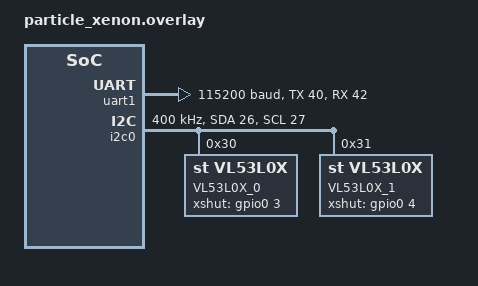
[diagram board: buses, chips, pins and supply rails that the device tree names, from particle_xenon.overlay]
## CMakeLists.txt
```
# SPDX-License-Identifier: Apache-2.0

cmake_minimum_required(VERSION 3.13.1)
include($ENV{ZEPHYR_BASE}/cmake/app/boilerplate.cmake NO_POLICY_SCOPE)
project(test)



FILE(GLOB app_sources src/*.c)
target_sources(app PRIVATE ${app_sources})
```

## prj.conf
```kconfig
CONFIG_GPIO=y
CONFIG_UART_1_NRF_UARTE=y
CONFIG_UART_INTERRUPT_DRIVEN=y
CONFIG_FLOAT=y
CONFIG_NEWLIB_LIBC=y

CONFIG_STDOUT_CONSOLE=y
CONFIG_I2C=y
#CONFIG_I2C_1=y

#CONFIG_SENSOR=y
#CONFIG_VL53L0X=y
#CONFIG_VL53L0X_PROXIMITY_THRESHOLD=100


CONFIG_BT=y
CONFIG_BT_DEBUG_LOG=y
CONFIG_BT_SMP=y
CONFIG_BT_PERIPHERAL=y
CONFIG_BT_GATT_DIS=y
CONFIG_BT_GATT_DIS_PNP=n
CONFIG_BT_DEVICE_NAME="Spinning Drone"
CONFIG_BT_DEVICE_APPEARANCE=833


CONFIG_BT_CTLR_TX_PWR_PLUS_8=y


CONFIG_RING_BUFFER=y

CONFIG_DEBUG=y
CONFIG_LOG=y
CONFIG_SENSOR_LOG_LEVEL_DBG=y
```

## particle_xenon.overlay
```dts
/*
 * Copyright (c) 2018 Peter Bigot Consulting, LLC
 *
 * SPDX-License-Identifier: Apache-2.0
 */

/* Add UART2 support on particle_xenon via nRF52840 UARTE1 */
&uart1 {
	compatible = "nordic,nrf-uarte";
	current-speed = <115200>;
	status = "okay";
	tx-pin = <40>;
	rx-pin = <42>;
	rts-pin = <35>;
	cts-pin = <43>;
};

&i2c0 { /* feather I2C */
	status = "okay";
	clock-frequency = <I2C_BITRATE_FAST>;
	sda-pin = <26>;
	scl-pin = <27>;

    vl53l0x@30 {
		compatible = "st,vl53l0x";
		reg = <0x30>;
		label = "VL53L0X_0";
		xshut-gpios = <&gpio0 3 GPIO_ACTIVE_HIGH>;
	};
	vl53l0x@31 {
		compatible = "st,vl53l0x";
		reg = <0x31>;
		label = "VL53L0X_1";
		xshut-gpios = <&gpio0 4 GPIO_ACTIVE_HIGH>;
	};
};
```

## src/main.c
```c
#include <device.h>
#include <drivers/gpio.h> 

#include <logging/log.h>
#include <errno.h>
#include <stdio.h>
#include <stddef.h>
#include <string.h>
#include <sys/printk.h>
#include <sys/byteorder.h>
#include <zephyr.h>
#include <zephyr/types.h>
#include <sys/ring_buffer.h>
#include <math.h>

#include "bluetoothle.h"
#include "filter.h"
#include "globals.h"
#include "uart.h"
#include "msp.h"
#include "controller.h"
#include "sensor.h"


#define LED_PORT DT_ALIAS_LED0_GPIOS_CONTROLLER
#define LED	DT_ALIAS_LED0_GPIOS_PIN
#define SLEEP_TIME 	10
#define MSP_RC_TO_FC 20
#define MSP_ATTITUDE_FETCH_TIME 10


LOG_MODULE_REGISTER( mainthread, CONFIG_LOG_DEFAULT_LEVEL);
// global definitions
u8_t watchdogPC = 0;

ringbuffer_t PC_rx;
ringbuffer_t PC_tx;
ringbuffer_t FC_rx;
ringbuffer_t FC_tx;

void init_ringbuffer(ringbuffer_t *ringbuffer)
{
    ring_buf_init(&ringbuffer->rb, sizeof(ringbuffer->buffer), ringbuffer->buffer);
}

#define MSP_RC_TO_FC 20
#define MSP_ATTITUDE_FETCH_TIME 10
#define SENSOR_TIME 33
void main(void)
{
    LOG_INF("start main thread");
    // Set LED pin as output
    struct device *setup_status_led_dev;
    setup_status_led_dev = device_get_binding(LED_PORT);
    gpio_pin_configure(setup_status_led_dev, LED, GPIO_OUTPUT);
    gpio_pin_set(setup_status_led_dev, LED, 0);

//    init_sensor(&tof_front, device_get_binding(DT_INST_1_ST_VL53L0X_LABEL), 0);
//    init_sensor(&tof_down, device_get_binding(DT_INST_0_ST_VL53L0X_LABEL), 20);
//    if (tof_front.dev == NULL) {
//        printk("Could not get VL53L0X frontFace\n");
//        return;
//    }
//    if (tof_down.dev == NULL) {
//        printk("Could not get VL53L0X downFace\n");
//        return;
//    }

    // setup ringbuffers for communication with pc and fc
    init_ringbuffer(&PC_rx);
    init_ringbuffer(&PC_tx);
    init_ringbuffer(&FC_rx);
    init_ringbuffer(&FC_tx);

    s64_t attitudeFetchTime = 0;
    s64_t rcSendToFCTime = 0;
    s64_t sensorTime = 0;
    s64_t currentTime = 0;
    // all setups done
    gpio_pin_set(setup_status_led_dev, LED, 1);

    LOG_INF("start main while loop");

//    biquadFilter_t tof_filter_front;
//    biquadFilterInit(&tof_filter_front, 33, (100000/SENSOR_TIME) , BIQUAD_Q, FILTER_LPF);
//    expFilterInit(&tof_front.filter.expFilter, 0.3f);
//    tof_front.filter.biquadFilter = &tof_filter_front;

//    biquadFilter_t tof_filter_ground;
//    biquadFilterInit(&tof_filter_ground, 33, (100000/SENSOR_TIME) , BIQUAD_Q, FILTER_LPF);
//    expFilterInit(&tof_down.filter.expFilter, 0.3f);
//    tof_down.filter.biquadFilter = &tof_filter_ground;

    s64_t stopwatch = 0;
    stopwatch = k_uptime_get();
    int time_att = 0;
    while (1) {
        bluetoothUartNotify();
        currentTime = k_uptime_get();

        processMSP(); // Process the MSP Buffer and get new information form PC and FC

//        if (currentTime >= sensorTime) {
//            sensorTime = currentTime + SENSOR_TIME;
//            fetch_distance_sensor(&tof_front);
//            fetch_distance_sensor(&tof_down);
//            //printk("SENSOR %i,%i,%i\n", tof_front.range,tof_down.range,0);
//        }

        if (currentTime >= attitudeFetchTime) {
            int stopwatch =  MSP_ATTITUDE_FETCH_TIME + currentTime - attitudeFetchTime;
            attitudeFetchTime = currentTime + MSP_ATTITUDE_FETCH_TIME;
            int request_count = requestAttitude();
            if(request_count > 1){ // FC did not respond to request
                time_att = time_att + stopwatch;
            } else {
                time_att = stopwatch;
            }
        }

        // Process Controller
        tick(time_att);

        if (currentTime >= rcSendToFCTime) {
            rcSendToFCTime = currentTime + MSP_RC_TO_FC;
            //printk("delta %d\n",delta);
            // TODO make a timeout for the data so if connection is lost the quadcopter is landing
            if (watchdogPC < 50) { //1sec Timeout
                watchdogPC++;
                //printk("rc to fc %i,%i,%i,%i,%i,%i\n", rcControl.rcdata.roll,rcControl.rcdata.pitch,rcControl.rcdata.yaw,rcControl.rcdata.throttle,rcControl.rcdata.mode,rcControl.rcdata.arm);
                sendRCtoFC();

            } else if (watchdogPC == 50) {
                resetController();
                printk("Watchdog was not reseted\n");
                watchdogPC++;
            }
        }

    }
}
```

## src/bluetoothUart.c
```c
#include <bluetooth/bluetooth.h>
#include <bluetooth/hci.h>
#include <bluetooth/conn.h>
#include <bluetooth/uuid.h>
#include <bluetooth/gatt.h>
#include <init.h>
#include <uart.h>
#include <sys/ring_buffer.h>
#include <zephyr.h>

#include "bluetoothUart.h"

static struct bt_conn *default_conn;
static u32_t notify_time;
#define NOTIFY_TIMOUT_MS 3
#define DEBUG_BLE_TIMING 1

#define LOG_LEVEL CONFIG_BT_GATT_HRS_LOG_LEVEL
#include <logging/log.h>
LOG_MODULE_REGISTER( drone, LOG_LEVEL_DBG);

#define RING_BUF_SIZE (64 * 4)

u8_t rx_Buffer[RING_BUF_SIZE];
u8_t tx_Buffer[RING_BUF_SIZE];

static struct bridge_data {
    struct device *uart_dev;
    struct ring_buf rx_ringbuf;
    struct ring_buf tx_ringbuf;
} bridgeBuffer;

static ssize_t write_signed(struct bt_conn *conn, const struct bt_gatt_attr *attr, const void *buf, u16_t len, u16_t offset, u8_t flags)
{
    size_t wrote;
    struct bridge_data *bridge = attr->user_data;
    struct ring_buf *ringbuf = &bridge->rx_ringbuf;
    struct device *dev = bridge->uart_dev;

#ifdef DEBUG_BLE_TIMING
    static u32_t cycles_spent = 0;
    const char *bufl = buf;
    cycles_spent = k_uptime_get_32() - cycles_spent;
    printk("Time since last BLE Frame received %u %d\n", cycles_spent,len);
    for(char e=0; e< len;e++){
        printk("0x%X ", *bufl);
        bufl++;
    }
    printk("\n");
    cycles_spent = k_uptime_get_32();
#endif

    wrote = ring_buf_put(ringbuf, buf, len);
    if (wrote < len) {
        LOG_ERR("Drop %u bytes rx", len - wrote);
    }

    if (wrote > 0) {
        uart_irq_tx_enable(dev);
    }
    return len;
}

static void sdgmc_ccc_cfg_changed(const struct bt_gatt_attr *attr, u16_t value)
{
    ARG_UNUSED(attr);
    bool notif_enabled = (value == BT_GATT_CCC_NOTIFY);
    LOG_INF("Drone notifications %s", notif_enabled ? "enabled" : "disabled");
}

BT_GATT_SERVICE_DEFINE(drone_svc,
        BT_GATT_PRIMARY_SERVICE(BT_UUID_UART),
        BT_GATT_CHARACTERISTIC(BT_UUID_UART_TX, BT_GATT_CHRC_NOTIFY, BT_GATT_PERM_NONE, NULL, NULL, NULL),
        BT_GATT_CCC(sdgmc_ccc_cfg_changed),
        BT_GATT_CHARACTERISTIC(BT_UUID_UART_RX, BT_GATT_CHRC_WRITE , BT_GATT_PERM_WRITE, NULL, write_signed, &bridgeBuffer),
);

static const struct bt_data ad[] = { BT_DATA_BYTES(BT_DATA_FLAGS, (BT_LE_AD_GENERAL | BT_LE_AD_NO_BREDR)), BT_DATA_BYTES(BT_DATA_UUID16_ALL, 0x0d, 0x18, 0x0f, 0x18, 0x05, 0x18), };

static void connected(struct bt_conn *conn, u8_t err)
{
    if (err) {
        printk("Connection failed (err 0x%02x)\n", err);
    } else {
        default_conn = bt_conn_ref(conn);
        printk("Connected\n");
    }
}

static void disconnected(struct bt_conn *conn, u8_t reason)
{
    printk("Disconnected (reason 0x%02x)\n", reason);

    if (default_conn) {
        bt_conn_unref(default_conn);
        default_conn = NULL;
    }
}

static struct bt_conn_cb conn_callbacks = { .connected = connected, .disconnected = disconnected, };

static void bt_ready(int err)
{
    if (err) {
        printk("Bluetooth init failed (err %d)\n", err);
        return;
    }

    printk("Bluetooth initialized\n");

    err = bt_le_adv_start(BT_LE_ADV_CONN_NAME, ad, ARRAY_SIZE(ad), NULL, 0);
    if (err) {
        printk("Advertising failed to start (err %d)\n", err);
        return;
    }

    printk("Advertising successfully started\n");
}

static void auth_cancel(struct bt_conn *conn)
{
    char addr[BT_ADDR_LE_STR_LEN];

    bt_addr_le_to_str(bt_conn_get_dst(conn), addr, sizeof(addr));

    printk("Pairing cancelled: %s\n", addr);
}

static struct bt_conn_auth_cb auth_cb_display = { .cancel = auth_cancel, };

// Uart Interrupt Handler
static void interrupt_handler(void *user_data)
{
    struct bridge_data *bridge = user_data;
    struct device *dev = bridge->uart_dev;
    static u32_t drop_tx;
    u8_t buf[64];
    size_t wrote, len;
    uart_irq_update(dev);

    if (uart_irq_tx_ready(dev)) {
        len = ring_buf_get(&bridge->rx_ringbuf, buf, sizeof(buf));
        if (!len) {
            uart_irq_tx_disable(dev);
        } else {
            wrote = uart_fifo_fill(dev, buf, len);
        }
    }

    if (uart_irq_rx_ready(dev)) {
        len = uart_fifo_read(dev, buf, sizeof(buf));
        wrote = ring_buf_put(&bridge->tx_ringbuf, buf, len);
        if (wrote < len) {
            drop_tx = drop_tx + (len - wrote);
            LOG_ERR("Drop %u bytes tx", drop_tx);
        }
    }
}

static int Uart_init(struct device *dev)
{
    ARG_UNUSED(dev);

    bluetoothUartInit();
    return 0;
}

void bluetoothUartInit()
{
    int err;

    static bt_addr_le_t testid;
    testid.type = BT_ADDR_LE_RANDOM;
    testid.a.val[0] = BT_ADDR_UART_0;
    testid.a.val[1] = BT_ADDR_UART_1;
    testid.a.val[2] = BT_ADDR_UART_2;
    testid.a.val[3] = BT_ADDR_UART_3;
    testid.a.val[4] = BT_ADDR_UART_4;
    testid.a.val[5] = BT_ADDR_UART_5;
    bt_set_id_addr(&testid);
    err = bt_enable(bt_ready);
    if (err) {
        printk("Bluetooth init failed (err %d)\n", err);
        return;
    }

    bt_conn_cb_register(&conn_callbacks);
    bt_conn_auth_cb_register(&auth_cb_display);

    struct bridge_data *bridge = &bridgeBuffer;
    struct device *uart_dev = device_get_binding("UART_1");
    if (uart_dev == NULL) {
        printk("Could not get Uart device\n");
        return;
    }

    bridge->uart_dev = uart_dev;
    ring_buf_init(&bridge->rx_ringbuf, sizeof(rx_Buffer), rx_Buffer);
    ring_buf_init(&bridge->tx_ringbuf, sizeof(tx_Buffer), tx_Buffer);

    uart_irq_callback_user_data_set(uart_dev, interrupt_handler, bridge);
    uart_irq_rx_enable(uart_dev);
    notify_time = k_uptime_get_32() + NOTIFY_TIMOUT_MS;
}

void bluetoothUartNotify()
{
    struct bridge_data *bridge = &bridgeBuffer;
    size_t len;
    u8_t buf[20];
    bool timeout = false;

    // Timeout triggered ?
    if (k_uptime_get_32() > notify_time) {
        notify_time = k_uptime_get_32() + NOTIFY_TIMOUT_MS;
        timeout = true;
    }

    if (!ring_buf_is_empty(&bridge->tx_ringbuf)) {
        size_t gesamt = ring_buf_capacity_get(&bridge->tx_ringbuf);
        size_t frei = ring_buf_space_get(&bridge->tx_ringbuf);
        if (((gesamt - frei) > 20) || timeout) { // Wait for data
            len = ring_buf_get(&bridge->tx_ringbuf, buf, sizeof(buf));
            bt_gatt_notify(NULL, &drone_svc.attrs[1], &buf, len);
        }
    }
}

SYS_INIT( Uart_init, APPLICATION, CONFIG_APPLICATION_INIT_PRIORITY);
```

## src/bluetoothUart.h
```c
#ifndef BLUETOOTH_UART_H_
#define BLUETOOTH_UART_H_

void bluetoothUartInit();
void bluetoothUartNotify();

#define BT_ADDR_UART_0 0x80
#define BT_ADDR_UART_1 0x08
#define BT_ADDR_UART_2 0x00
#define BT_ADDR_UART_3 0x80
#define BT_ADDR_UART_4 0x08
#define BT_ADDR_UART_5 0xc0

#define BT_UUID_UART BT_UUID_DECLARE_16(0x8880)
#define BT_UUID_UART_TX BT_UUID_DECLARE_16(0x8881)
#define BT_UUID_UART_RX BT_UUID_DECLARE_16(0x8882)

#endif /*BLUETOOTH_UART_H_*/
```

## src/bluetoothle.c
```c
#include <bluetooth/bluetooth.h>
#include <bluetooth/hci.h>
#include <bluetooth/conn.h>
#include <bluetooth/uuid.h>
#include <bluetooth/gatt.h>
#include <init.h>
#include <sys/ring_buffer.h>
#include <zephyr.h>
#include <errno.h>

#include "globals.h"
#include "bluetoothle.h"

static struct bt_conn *default_conn;
static u32_t notify_time;
#define NOTIFY_TIMOUT_MS 3
#define DEBUG_BLE_TIMING 1

#include <logging/log.h>
LOG_MODULE_REGISTER( drone_ble, LOG_LEVEL_DBG);

static ssize_t write_signed(struct bt_conn *conn, const struct bt_gatt_attr *attr, const void *buf, u16_t len, u16_t offset, u8_t flags)
{
    size_t wrote;
    ringbuffer_t *ringbuffer = attr->user_data;
    struct ring_buf *ringbuf = &ringbuffer->rb;

#ifdef DEBUG_BLE_TIMING
    static u32_t cycles_spent = 0;
    cycles_spent = k_uptime_get_32() - cycles_spent;
    //printk("Time since last BLE Frame received %u %d\n", cycles_spent, len);
    /*const char *bufl = buf;

     for (char e = 0; e < len; e++) {
     printk("0x%X ", *bufl);
     bufl++;
     }
     printk("\n");
     */
    cycles_spent = k_uptime_get_32();
#endif

    wrote = ring_buf_put(ringbuf, buf, len);
    if (wrote < len) {
        LOG_ERR("Drop %u bytes rx", len - wrote);
    }

    return len;
}

static void sdgmc_ccc_cfg_changed(const struct bt_gatt_attr *attr, u16_t value)
{
    ARG_UNUSED(attr);
    bool notif_enabled = (value == BT_GATT_CCC_NOTIFY);
    LOG_INF("Drone notifications %s", notif_enabled ? "enabled" : "disabled");
}

BT_GATT_SERVICE_DEFINE(drone_svc,
        BT_GATT_PRIMARY_SERVICE(BT_UUID_UART),
        BT_GATT_CHARACTERISTIC(BT_UUID_UART_TX, BT_GATT_CHRC_NOTIFY, BT_GATT_PERM_NONE, NULL, NULL, NULL),
        BT_GATT_CCC(sdgmc_ccc_cfg_changed,BT_GATT_PERM_READ | BT_GATT_PERM_WRITE),
        BT_GATT_CHARACTERISTIC(BT_UUID_UART_RX, BT_GATT_CHRC_WRITE , BT_GATT_PERM_WRITE, NULL, write_signed, &PC_rx),
);

static const struct bt_data ad[] = { BT_DATA_BYTES(BT_DATA_FLAGS, (BT_LE_AD_GENERAL | BT_LE_AD_NO_BREDR)), BT_DATA_BYTES(BT_DATA_UUID16_ALL, 0x0d, 0x18, 0x0f, 0x18, 0x05, 0x18), };

static void connected(struct bt_conn *conn, u8_t err)
{
    if (err) {
        printk("Connection failed (err 0x%02x)\n", err);
    } else {
        default_conn = bt_conn_ref(conn);
        printk("Connected\n");
    }
}

static void disconnected(struct bt_conn *conn, u8_t reason)
{
    printk("Disconnected (reason 0x%02x)\n", reason);

    if (default_conn) {
        bt_conn_unref(default_conn);
        default_conn = NULL;
    }
}

static struct bt_conn_cb conn_callbacks = { .connected = connected, .disconnected = disconnected, };

static void bt_ready(int err)
{
    if (err) {
        printk("Bluetooth init failed (err %d)\n", err);
        return;
    }

    printk("Bluetooth initialized\n");

    err = bt_le_adv_start(BT_LE_ADV_CONN_NAME, ad, ARRAY_SIZE(ad), NULL, 0);
    if (err) {
        printk("Advertising failed to start (err %d)\n", err);
        return;
    }

    printk("Advertising successfully started\n");
}

static void auth_cancel(struct bt_conn *conn)
{
    char addr[BT_ADDR_LE_STR_LEN];

    bt_addr_le_to_str(bt_conn_get_dst(conn), addr, sizeof(addr));

    printk("Pairing cancelled: %s\n", addr);
}

static struct bt_conn_auth_cb auth_cb_display = { .cancel = auth_cancel, };

int bluetooth_init(struct device *dev)
{
    ARG_UNUSED(dev);
    int err;

    static bt_addr_le_t testid;
    testid.type = BT_ADDR_LE_RANDOM;
    testid.a.val[0] = BT_ADDR_UART_0;
    testid.a.val[1] = BT_ADDR_UART_1;
    testid.a.val[2] = BT_ADDR_UART_2;
    testid.a.val[3] = BT_ADDR_UART_3;
    testid.a.val[4] = BT_ADDR_UART_4;
    testid.a.val[5] = BT_ADDR_UART_5;
    bt_set_id_addr(&testid);
    err = bt_enable(bt_ready);
    if (err) {
        printk("Bluetooth init failed (err %d)\n", err);
        return -EPERM;
    }

    bt_conn_cb_register(&conn_callbacks);
    bt_conn_auth_cb_register(&auth_cb_display);

    notify_time = k_uptime_get_32() + NOTIFY_TIMOUT_MS;
    return 0;
}

void bluetoothUartNotify()
{
    size_t len;
    u8_t buf[20];
    bool timeout = false;

    //static char str[BT_ADDR_LE_STR_LEN + 2];
    //struct bt_conn_info info;
    //bt_conn_get_info(default_conn, &info);
    //info.le.dst->type
    //bt_addr_le_to_str(info.le.dst, str, sizeof(str) - 2);
    //printk("%s    intervall:%d latency:%d timeout:%d \n",str,info.le.interval,info.le.latency,info.le.timeout);
    //bt_conn_get_info
    struct ring_buf *ringbuf = &PC_tx.rb;
    // Timeout triggered ?
    if (k_uptime_get_32() > notify_time) {
        notify_time = k_uptime_get_32() + NOTIFY_TIMOUT_MS;
        timeout = true;
    }

    if (!ring_buf_is_empty(ringbuf)) {
        size_t gesamt = ring_buf_capacity_get(ringbuf);
        size_t frei = ring_buf_space_get(ringbuf);
        if (((gesamt - frei) > 20) || timeout) { // Wait for data

            len = ring_buf_get(ringbuf, buf, sizeof(buf));
//            printk("get %i data to send ", len);
//            const char *bufl = buf;
//
//            for (char e = 0; e < len; e++) {
//                printk("0x%X ", *bufl);
//                bufl++;
//            }
//            printk("\n");
            bt_gatt_notify(NULL, &drone_svc.attrs[1], &buf, len);
        }
    }
}

SYS_INIT( bluetooth_init, APPLICATION, CONFIG_APPLICATION_INIT_PRIORITY);
```

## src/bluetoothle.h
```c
#ifndef BLUETOOTH_LE_H_
#define BLUETOOTH_LE_H_

void bluetoothUartNotify();

#define BT_ADDR_UART_0 0x80
#define BT_ADDR_UART_1 0x08
#define BT_ADDR_UART_2 0x00
#define BT_ADDR_UART_3 0x80
#define BT_ADDR_UART_4 0x08
#define BT_ADDR_UART_5 0xc0

#define BT_UUID_UART BT_UUID_DECLARE_16(0x8880)
#define BT_UUID_UART_TX BT_UUID_DECLARE_16(0x8881)
#define BT_UUID_UART_RX BT_UUID_DECLARE_16(0x8882)

#endif /*BLUETOOTH_LE_H_*/
```

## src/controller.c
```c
#include <zephyr.h>
#include <init.h>
#include <math.h>

#include "controller.h"
#include "sensor.h"
#include "globals.h"
#include "streambuf.h"
#include "msp.h"

#define M_PI        3.14159265358979323846
#define HOLD_MM 300

altHoldPid_t altHold;
rc_control_t rcControl;
att_data_t att_data;
raw_imu_data_t raw_imu_data;

flight_mode modus = IDLE;
int16_t headFreeModeHold = 0;

static s16_t force_altitude = 0;
static s16_t force_roll = 0;
static s16_t force_pitch = 0;

// last data from pc
u16_t chan[RC_CHANAL_COUNT];
void resetController()
{
    reset_sensor(&tof_down, HOLD_MM);
    force_altitude = force_roll = force_pitch = 0;
    modus = IDLE;
    for (int i = 0; i < RC_CHANAL_COUNT; i++) {
        chan[i] = 0;
    }
    rcControl.rcdata.throttle = 1000;
    printk("Controller reseted\n");
}

void resetHoldMode()
{
    force_altitude = force_roll = force_pitch = 0;
    reset_sensor(&tof_down, HOLD_MM);
    printk("Reset Hold Mode\n");
}

int pushController(tof_controller_t *tof)
{
    float refreshTime = tof->time_between_reads;
    float pterm = tof->pterm;
    u16_t max_range = tof->iterm * 1000; //range where controller is starting pushing
    float dterm = tof->dterm;

    if (tof->range < 0) { // No Sensor Value
        return 0;
    }

    s16_t error = range_diff_sensor(tof, max_range);
    // p
    s16_t kp = constrain(pterm * error, -500, +500);
    if (kp < 0) {
        kp = 0;
    }
    // d
    float derivative = ((error - tof->l_error) / refreshTime) * 33;
    float derivativeSum = tof->derivative1 + tof->derivative2 + derivative;
    tof->derivative2 = tof->derivative1;
    tof->derivative1 = derivative;
    float derivativeFiltered = derivativeSum / 3;
    s16_t kd = constrain(dterm * derivativeFiltered, -500, +500);
    if (kd < 0) {
        kd = 0;
    }

    int force = kp + kd;
    //printk("[p=%i,d=%i] @ %i\n", kp, kd, max_range);
    if (force < 0) { //only push away
        force = 0;
    }
    tof->l_error = error;

//    uint8_t data[8];
//    data[0] = (uint8_t)((0x00FF) & kp);
//    data[1] = (uint8_t)((0x00FF) & kp >> 8);
//
//    data[2] = (uint8_t)((0x00FF) & kd);
//    data[3] = (uint8_t)((0x00FF) & kd >> 8);
//
////    data[4] = (uint8_t)((0x00FF) & kd);
////    data[5] = (uint8_t)((0x00FF) & kd >> 8);
//    data[4] = 0;
//    data[5] = 0;
//
//    data[6] = (uint8_t)((0x00FF) & force);
//    data[7] = (uint8_t)((0x00FF) & force >> 8);

//    send_debug(data, 8);
    return force;
}

void calcPushback(int16_t *roll, int16_t *pitch, tof_controller_t *tof)
{
    int force = 0;
    force = pushController(tof);

    switch (tof->direction) {
    case FRONT:
        *pitch = -force;
        break;
    case REAR:
        *pitch = force;
        break;
    case RIGHT:
        *roll = -force;
        break;
    case LEFT:
        *roll = force;
        break;
    }
}

void calcHeadFree(int16_t *roll, int16_t *pitch)
{
    float radDiff = (att_data.yaw - headFreeModeHold) * M_PI / 180.0f;
    float cosDiff = cosf(radDiff);
    float sinDiff = sinf(radDiff);

    int16_t rcCommand_PITCH = *pitch * cosDiff + *roll * sinDiff;
    *roll = *roll * cosDiff - *pitch * sinDiff;
    *pitch = rcCommand_PITCH;
}

s16_t getAltitudeThrottle(tof_controller_t *tof, u16_t target_distance)
{
    float refreshTime = tof->time_between_reads;
    float pterm = altHold.p;
    float iterm = altHold.i;
    float dterm = altHold.d;

    if (tof->range < 0) { // No Sensor Value
        return 0;
    }
    s16_t error = range_diff_sensor(tof, target_distance);
    // p
    s16_t kp = constrain(pterm * error, -400, +400);
    // i
    tof->integral_e = constrain(tof->integral_e + iterm * error, -500, +500);
    s16_t ki = constrain(tof->integral_e, -500, +500);
    // d
    float derivative = ((error - tof->l_error) / refreshTime) * 33;
    float derivativeSum = tof->derivative1 + tof->derivative2 + derivative;
    tof->derivative2 = tof->derivative1;
    tof->derivative1 = derivative;
    float derivativeFiltered = derivativeSum / 3;
    s16_t kd = constrain(dterm * derivativeFiltered, -250, +250);

    tof->l_error = error;
    return kp + ki + kd;
}

void tick(int att_timeout)
{
    int error = 0;
    if (att_timeout > 200) {
        printk("Timeout attitude Flight Controller\n");
        error = 1;
    }

    if (chan[RC_ARM] < 1600 || att_timeout > 200) { // Hard reset
        modus = IDLE;
    }
    //Throttle controller
    switch (modus) {
    case IDLE:
        rcControl.rcdata.throttle = 1000;
        if (chan[RC_ARM] >= 1600) {
            modus = ARMED;
        }
        break;
    case ARMED:
        if (chan[MODE_SWITCH] >= 1200) {
            modus = HOLD;
            resetHoldMode();
            headFreeModeHold = att_data.yaw;
        } else {
            rcControl.rcdata.throttle = constrain(chan[RC_THROTTLE], 1000, 1800);
        }
        break;
    case HOLD:  // Manipulate RC Data
        if (chan[MODE_SWITCH] < 1200) {
            modus = NORMALIZE;
        } else {

            // Normalize RC Data
            int16_t roll = (int16_t) chan[RC_ROLL] - 1500; //norm data to -500..500
            int16_t pitch = (int16_t) chan[RC_PITCH] - 1500;

            calcHeadFree(&roll, &pitch);

            // update data with push forces from tof sensors
            if (tof_front.isNew) {
                int16_t pushRoll = 0, pushPitch = 0;
                calcPushback(&pushRoll, &pushPitch, &tof_front);
                force_roll = pushRoll;
                force_pitch = pushPitch;
                tof_front.isNew = false;
            }

            if (tof_down.isNew) { //Only update if new data is available
                force_altitude = getAltitudeThrottle(&tof_down, HOLD_MM);
                tof_down.isNew = false;
            }

            // update throttle bases on altitude  hold
            rcControl.rcdata.throttle = constrain(chan[RC_THROTTLE] + force_altitude, 1100, 1800);
            // update roll/pith with push values
            roll = constrain(roll + force_roll, -500, 500);
            pitch = constrain(pitch + force_pitch, -500, 500);

            // set RC Data
            rcControl.rcdata.roll = constrain(roll + 1500, 1000, 2000);
            rcControl.rcdata.pitch = constrain(pitch + 1500, 1000, 2000);
            rcControl.rcdata.yaw = chan[RC_YAW];

            rcControl.rcdata.arm = chan[RC_ARM];
            rcControl.rcdata.mode = chan[RC_MODE];

            //printk("alt hold [%d %i %d]\n", chan[RC_THROTTLE], thrust_alt, rcControl.rcdata.throttle);
            //printk("heading diff [%i] [%d] [%d]\n", (att_data.yaw - headFreeModeHold), att_data.yaw, headFreeModeHold);

            return;
        }
        break;
    case NORMALIZE:
        if (rcControl.rcdata.throttle == chan[RC_THROTTLE]) {
            modus = ARMED;
        } else {
            static s64_t landingTimer = 0;
            s64_t currentTime = k_uptime_get();
            if (currentTime >= landingTimer) {
                landingTimer = currentTime + 50;
                rcControl.rcdata.throttle = constrain(rcControl.rcdata.throttle - 10, chan[RC_THROTTLE], 1800); // decrease to RC_THRUST
            }
        }

        break;
    default:
        modus = IDLE;
        rcControl.rcdata.throttle = 1000;
    }

    rcControl.rcdata.roll = chan[RC_ROLL];
    rcControl.rcdata.pitch = chan[RC_PITCH];
    rcControl.rcdata.yaw = chan[RC_YAW];

    rcControl.rcdata.arm = chan[RC_ARM];
    rcControl.rcdata.mode = chan[RC_MODE];

    set_debug(modus, error);
}
void rc_data_frame_received(sbuf_t *src)
{
    watchdogPC = 0; // copy data
    for (int i = 0; i < RC_CHANAL_COUNT; i++) {
        chan[i] = sbufReadU16(src);
    }
}

void setAltitudePID(u16_t p, u16_t i, u16_t d)
{
    altHold.p = ((float) p) / 1000;
    altHold.i = ((float) i) / 1000;
    altHold.d = ((float) d) / 1000;

    printk("\n------------------- \n set pid %d %d %d \n-------------------\n", p, i, d);
}
void setPushPID(u16_t p, u16_t i, u16_t d)
{
    tof_front.pterm = ((float) p) / 1000;
    tof_front.iterm = ((float) i) / 1000;
    tof_front.dterm = ((float) d) / 1000;
    printk("\n------------------- \n set pid %d %d %d \n-------------------\n", p, i, d);
}

static int init_Controller(struct device *dev)
{
    ARG_UNUSED(dev);
    setAltitudePID(0, 0, 0);
    setPushPID(0, 0, 0);
    return 0;
}

SYS_INIT( init_Controller, APPLICATION, CONFIG_APPLICATION_INIT_PRIORITY);
```

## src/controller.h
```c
#ifndef CONTROLLER_H_
#define CONTROLLER_H_
#include "streambuf.h"

#define RC_CHANAL_COUNT 6
#define ARM_SWITCH 4
#define MODE_SWITCH 5




typedef enum {
    IDLE = 0, ARMED, HOLD, TAKEOFF, NORMALIZE
} flight_mode;
 extern flight_mode modus;

typedef struct altHoldPid_s {
    float p;
    float i;
    float d;
} altHoldPid_t;

enum {
    RC_ROLL = 0, RC_PITCH, RC_YAW, RC_THROTTLE, RC_ARM, RC_MODE
};

typedef union {
    struct {
        u16_t roll;
        u16_t pitch;
        u16_t yaw;
        u16_t throttle;
        u16_t arm;
        u16_t mode;
    };
    u16_t raw[6];
} rcdata_t;

typedef union {
    struct {
        int16_t roll;
        int16_t pitch;
        int16_t yaw;
    };
    int16_t raw[3];
} att_data_t;

typedef union {
    struct {
        int16_t acc_x;
        int16_t acc_y;
        int16_t acc_z;
        int16_t gyro_x;
        int16_t gyro_y;
        int16_t gyro_z;
        int16_t mag_x;
        int16_t mag_y;
        int16_t mag_z;
    };
    int16_t raw[9];
} raw_imu_data_t;

typedef struct {
    rcdata_t rcdata;
    s64_t last_frame_time;
    s64_t last_valid_frame_time;
    bool is_valid;
} rc_control_t;

extern altHoldPid_t altHold;
extern rc_control_t rcControl;
extern att_data_t att_data;
extern raw_imu_data_t raw_imu_data;

void setAltitudePID(u16_t p, u16_t i, u16_t d);
void setPushPID(u16_t p, u16_t i, u16_t d);
void resetController();
void rc_data_frame_received(sbuf_t *src);
void tick(int att_timeout);

#endif /*CONTROLLER_H_*/
```

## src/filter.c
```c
#include "filter.h"

#include <math.h>
#include <sys/printk.h>

#define M_LN2_FLOAT 0.69314718055994530942f
#define M_PI_FLOAT  3.14159265358979323846f

void biquadFilterInit(biquadFilter_t *filter, float filterFreq, uint32_t refreshRate, float Q, biquadFilterType_e filterType)
{
    // setup variables
    const float omega = 2.0f * M_PI_FLOAT * filterFreq * refreshRate * 0.000001f;
    const float sn = sin(omega);
    const float cs = cos(omega);
    const float alpha = sn / (2.0f * Q);

    float b0 = 0, b1 = 0, b2 = 0, a0 = 0, a1 = 0, a2 = 0;

    switch (filterType) {
    case FILTER_LPF:
        // 2nd order Butterworth (with Q=1/sqrt(2)) / Butterworth biquad section with Q
        // described in http://www.ti.com/lit/an/slaa447/slaa447.pdf
        b0 = (1 - cs) * 0.5f;
        b1 = 1 - cs;
        b2 = (1 - cs) * 0.5f;
        a0 = 1 + alpha;
        a1 = -2 * cs;
        a2 = 1 - alpha;
        break;
    case FILTER_NOTCH:
        b0 = 1;
        b1 = -2 * cs;
        b2 = 1;
        a0 = 1 + alpha;
        a1 = -2 * cs;
        a2 = 1 - alpha;
        break;
    case FILTER_BPF:
        b0 = alpha;
        b1 = 0;
        b2 = -alpha;
        a0 = 1 + alpha;
        a1 = -2 * cs;
        a2 = 1 - alpha;
        break;
    }

    // precompute the coefficients
    filter->b0 = b0 / a0;
    filter->b1 = b1 / a0;
    filter->b2 = b2 / a0;
    filter->a1 = a1 / a0;
    filter->a2 = a2 / a0;

    // zero initial samples
    filter->x1 = filter->x2 = 0;
    filter->y1 = filter->y2 = 0;
}

float biquadFilterApply(biquadFilter_t *filter, float input)
{
    const float result = filter->b0 * input + filter->x1;
    filter->x1 = filter->b1 * input - filter->a1 * result + filter->x2;
    filter->x2 = filter->b2 * input - filter->a2 * result;
    return result;
}

void expFilterReset(expFilter_t *filter)
{
    filter->first_messure = true;
    filter->last = 0;
}
void expFilterInit(expFilter_t *filter, float a)
{
    filter->first_messure = true;
    filter->last = 0;
    filter->a = a;
}

float expFilterApply(expFilter_t *filter, float input)
{
    if (filter->first_messure) {
        filter->first_messure = false;
        filter->last = input;
    } else {
        filter->last = filter->last + filter->a * (input - filter->last);
    }
    return filter->last;
}
void filterInit(filter_t *filter){

};

void filterReset(filter_t *filter)
{
    expFilterReset(&filter->expFilter);
}
int count = 0;
float filterApply(filter_t *filter, float input)
{
    float output = expFilterApply(&filter->expFilter, input);

    if(!filter->biquadFilter){
        return output;
    }
    float output2 = biquadFilterApply(filter->biquadFilter, output);
    //printk("SENSOR %i,%i,%i\n", (int) input, (int)output,(int)output2);
    return output2;
}
```

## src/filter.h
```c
#ifndef FILTER_H_
#define FILTER_H_

#include <stdint.h>
#include <stdbool.h>

typedef enum {
    FILTER_LPF,    // 2nd order Butterworth section
    FILTER_NOTCH,
    FILTER_BPF,
} biquadFilterType_e;

/* this holds the data required to update samples thru a filter */
typedef struct biquadFilter_s {
    float b0, b1, b2, a1, a2;
    float x1, x2, y1, y2;
} biquadFilter_t;


typedef struct expFilter_s {
    float a;
    float last;
    bool first_messure;
} expFilter_t;

typedef struct filter_s {
    biquadFilter_t *biquadFilter;
    expFilter_t expFilter;
} filter_t;


void biquadFilterInit(biquadFilter_t *filter, float filterFreq, uint32_t refreshRate, float Q, biquadFilterType_e filterType);
float biquadFilterApply(biquadFilter_t *filter, float input);

void expFilterInit(expFilter_t *filter, float a);
void expFilterReset(expFilter_t *filter);
float expFilterApply(expFilter_t *filter,float input);


void filterInit(filter_t *filter);
void filterReset(filter_t *filter);
float filterApply(filter_t *filter,float input);

#endif /*FILTER_H_*/
```

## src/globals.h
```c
#ifndef GLOBALS_H_
#define GLOBALS_H_

#include <sys/ring_buffer.h>

#define RING_BUF_SIZE (64 * 4)
#define BIQUAD_Q 1.0f / sqrtf(2.0f)     /* quality factor - 2nd order butterworth*/

typedef struct ringbuffer_s {
    struct ring_buf rb;
    u8_t buffer[RING_BUF_SIZE];
} ringbuffer_t;



extern ringbuffer_t  PC_rx;
extern ringbuffer_t  PC_tx;
extern ringbuffer_t  FC_rx;
extern ringbuffer_t  FC_tx;

extern u8_t watchdogPC;

#define constrain(amt,low,high) ((amt)<(low)?(low):((amt)>(high)?(high):(amt)))

#endif /*GLOBALS_H_*/
```

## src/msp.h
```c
#ifndef MSP_H_
#define MSP_H_

#include "globals.h"
#include "streambuf.h"

#define MSP_PORT_INBUF_SIZE 192
#define MSP_PORT_OUTBUF_SIZE 256

#define ARRAYLEN(x) (sizeof(x) / sizeof((x)[0]))
#define ARRAYEND(x) (&(x)[ARRAYLEN(x)])

typedef enum {
    MSP_V1          = 0,
    MSP_V2_OVER_V1  = 1,
    MSP_V2_NATIVE   = 2,
    MSP_VERSION_COUNT
} mspVersion_e;

typedef struct mspPacket_s {
    sbuf_t buf;
    int16_t cmd;
    uint8_t direction;
} mspPacket_t;

#define MSP_VERSION_MAGIC_INITIALIZER { 'M', 'M', 'X' }

// return positive for ACK, negative on error, zero for no reply
typedef enum {
    MSP_RESULT_ACK = 1,
    MSP_RESULT_ERROR = -1,
    MSP_RESULT_NO_REPLY = 0,
    MSP_RESULT_CMD_UNKNOWN = -2,   // don't know how to process command, try next handler
} mspResult_e;

typedef enum {
    MSP_DIRECTION_REPLY = 0,
    MSP_DIRECTION_REQUEST = 1
} mspDirection_e;

typedef enum {
    MSP_IDLE,
    MSP_HEADER_START,
    MSP_HEADER_M,

    MSP_HEADER_V1,
    MSP_PAYLOAD_V1,
    MSP_CHECKSUM_V1,

    MSP_COMMAND_RECEIVED
} mspState_e;

typedef enum {
    MSP_PACKET_COMMAND,
    MSP_PACKET_REPLY,
} mspPacketType_e;

typedef enum {
    MSP_GATEWAY_PACKET_REPLY,
    MSP_GATEWAY_PACKET_MODIFY,
    MSP_GATEWAY_PACKET_MODIFY_AND_REPLY,
    MSP_GATEWAY_PACKET_PASSTHROUGH,
    MSP_GATEWAY_PACKET_CONSUME,
} mspGatewayPacketType_e;

typedef enum {
    MSP_PORT_PC,
    MSP_PORT_FC
} mspPortType_e;

typedef struct __attribute__((packed)) {
    uint8_t size;
    uint8_t cmd;
} mspHeaderV1_t;

typedef struct mspPort_s mspPort_t;
struct mspPort_s {
    mspState_e c_state;
    mspPortType_e portType;
    u32_t lastActivityMs;
    uint16_t cmdMSP;
    ringbuffer_t *rxBuffer;
    ringbuffer_t *txBuffer;
    uint8_t inBuf[MSP_PORT_INBUF_SIZE];
    uint_fast16_t offset;
    uint_fast16_t dataSize;
    uint8_t checksum1;
    mspVersion_e mspVersion;
    mspPacketType_e packetType;
    mspGatewayPacketType_e gatewaypacketType;
    mspPort_t *passthroughPort;
};

extern mspPort_t PC_msp;
extern mspPort_t FC_msp;
extern uint8_t *debugData;

#define MSP_FC_VERSION                  3    //out message


void processMSP(void);
int requestAttitude(void);
void requestRawIMU(void);
void sendRCtoFC(void);
void send_debug(void);
void send_imu_debug(void);

void set_debug(uint8_t mode,uint8_t error);
#endif /*MSP_H_*/
```

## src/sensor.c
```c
#include <drivers/sensor.h>
#include "sensor.h"

#define TOF_POLLING_TIME_MS 2
#define TOF_TIMEOUT_MS 80
#define TOF_MAX_RANGE 1500

tof_controller_t tof_front;
tof_controller_t tof_down;
void init_sensor(tof_controller_t *sensor, struct device *dev, int range_offset)
{
    sensor->range = 0;
    sensor->dev = dev;
    sensor->time_last_read = 0;
    sensor->range_offset = range_offset;
}

void reset_sensor(tof_controller_t *tof, u16_t target_distance)
{
    tof->integral_e = 0;
    tof->l_error = range_diff_sensor(tof, target_distance);
    tof->derivative1 = 0;
    tof->derivative2 = 0;
}

int range_diff_sensor(tof_controller_t *tof, u16_t target_distance)
{
    return target_distance - tof->range + tof->range_offset;
}

/**
 * get range data from sensor
 * the sensor can timeout TOF_TIMEOUT_MS
 * the sensor has an minimal polling interval of TOF_POLLING_TIME_MS
 */
void fetch_distance_sensor(tof_controller_t *sensor)
{
    struct sensor_value value;
    int ret = sensor_sample_fetch(sensor->dev);

    if ((k_uptime_get() - sensor->time_last_read) <= TOF_POLLING_TIME_MS) {
        return;
    }

    if (ret != -EBUSY && ret != 0) { // unknown error of Sensor
        filterReset(&sensor->filter);
        sensor->range = -EIO;
        return;
    }

    if (ret == -EBUSY) {
        if ((k_uptime_get() - sensor->time_last_read) >= TOF_TIMEOUT_MS) { //reset data on Timeout
            filterReset(&sensor->filter);
            sensor->range = -EIO;
        }
        return;
    }

    if (sensor_channel_get(sensor->dev, SENSOR_CHAN_DISTANCE, &value) == 0) { // no error and new valid value
        sensor->range = sensor_value_to_double(&value) * 1000; // range in mm;
        sensor->time_between_reads = k_uptime_get() - sensor->time_last_read;
        sensor->time_last_read = k_uptime_get();
        sensor->isNew = true;
        if (sensor->range > TOF_MAX_RANGE) {
            sensor->range = TOF_MAX_RANGE;
        }
        sensor->range = filterApply(&sensor->filter, sensor->range);
        return;
    }

    filterReset(&sensor->filter);
    sensor->range = -EIO;
}
```
